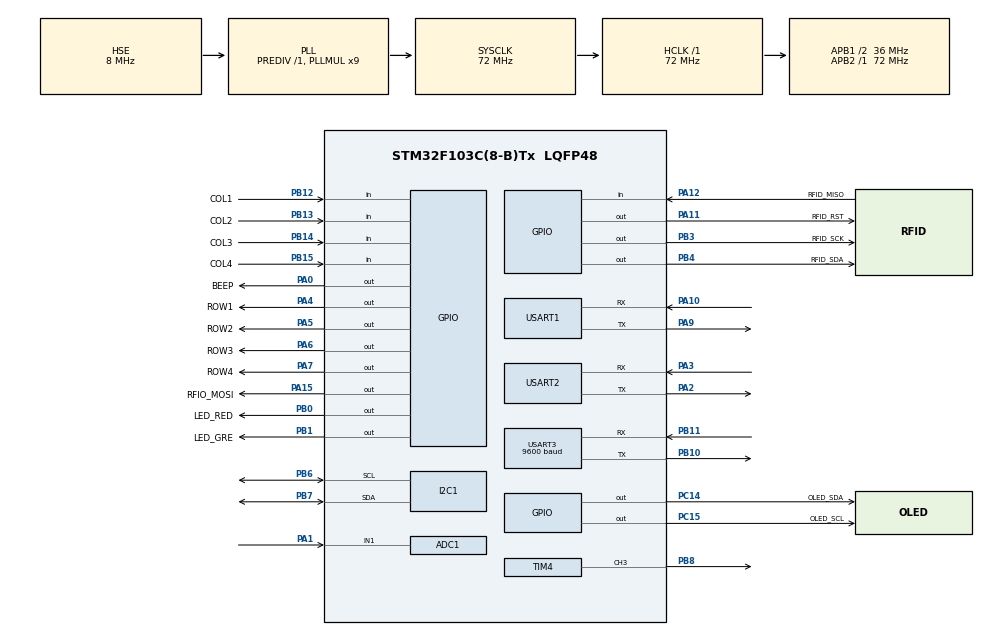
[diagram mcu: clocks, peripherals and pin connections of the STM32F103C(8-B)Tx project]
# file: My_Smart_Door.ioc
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ADC1.Channel-0\#ChannelRegularConversion=ADC_CHANNEL_1
ADC1.NbrOfConversionFlag=1
ADC1.Rank-0\#ChannelRegularConversion=1
ADC1.SamplingTime-0\#ChannelRegularConversion=ADC_SAMPLETIME_1CYCLE_5
ADC1.master=1
Mcu.Family=STM32F1
Mcu.Name=STM32F103C(8-B)Tx
Mcu.Package=LQFP48
NVIC.PriorityGroup=NVIC_PRIORITYGROUP_4
NVIC.USART1_IRQn=true\:5\:0\:true\:false\:true\:true\:true\:true
NVIC.USART2_IRQn=true\:5\:0\:true\:false\:true\:true\:true\:true
NVIC.USART3_IRQn=true\:5\:0\:true\:false\:true\:true\:true\:true
PA0-WKUP.GPIO_Label=BEEP
PA0-WKUP.PinState=GPIO_PIN_SET
PA0-WKUP.Signal=GPIO_Output
PA1.Signal=ADCx_IN1
PA10.Mode=Asynchronous
PA10.Signal=USART1_RX
PA11.GPIO_Label=RFID_RST
PA11.GPIO_Speed=GPIO_SPEED_FREQ_HIGH
PA11.PinState=GPIO_PIN_SET
PA11.Signal=GPIO_Output
PA12.GPIO_Label=RFID_MISO
PA12.GPIO_PuPd=GPIO_PULLUP
PA12.Signal=GPIO_Input
PA13.Mode=Serial_Wire
PA13.Signal=SYS_JTMS-SWDIO
PA14.Mode=Serial_Wire
PA14.Signal=SYS_JTCK-SWCLK
PA15.GPIO_Label=RFIO_MOSI
PA15.GPIO_Speed=GPIO_SPEED_FREQ_HIGH
PA15.PinState=GPIO_PIN_SET
PA15.Signal=GPIO_Output
PA2.Mode=Asynchronous
PA2.Signal=USART2_TX
PA3.Mode=Asynchronous
PA3.Signal=USART2_RX
PA4.GPIO_Label=ROW1
PA4.GPIO_Mode=GPIO_MODE_OUTPUT_OD
PA4.GPIO_PuPd=GPIO_NOPULL
PA4.GPIO_Speed=GPIO_SPEED_FREQ_LOW
PA4.PinState=GPIO_PIN_SET
PA4.Signal=GPIO_Output
PA5.GPIO_Label=ROW2
PA5.GPIO_Mode=GPIO_MODE_OUTPUT_OD
PA5.GPIO_PuPd=GPIO_NOPULL
PA5.GPIO_Speed=GPIO_SPEED_FREQ_LOW
PA5.PinState=GPIO_PIN_SET
PA5.Signal=GPIO_Output
PA6.GPIO_Label=ROW3
PA6.GPIO_Mode=GPIO_MODE_OUTPUT_OD
PA6.GPIO_PuPd=GPIO_NOPULL
PA6.GPIO_Speed=GPIO_SPEED_FREQ_LOW
PA6.PinState=GPIO_PIN_SET
PA6.Signal=GPIO_Output
PA7.GPIO_Label=ROW4
PA7.GPIO_Mode=GPIO_MODE_OUTPUT_OD
PA7.GPIO_PuPd=GPIO_NOPULL
PA7.GPIO_Speed=GPIO_SPEED_FREQ_LOW
PA7.PinState=GPIO_PIN_SET
PA7.Signal=GPIO_Output
PA9.Mode=Asynchronous
PA9.Signal=USART1_TX
PB0.GPIO_Label=LED_RED
PB0.GPIO_Speed=GPIO_SPEED_FREQ_MEDIUM
PB0.PinState=GPIO_PIN_SET
PB0.Signal=GPIO_Output
PB1.GPIO_Label=LED_GRE
PB1.GPIO_Speed=GPIO_SPEED_FREQ_MEDIUM
PB1.PinState=GPIO_PIN_SET
PB1.Signal=GPIO_Output
PB10.Mode=Asynchronous
PB10.Signal=USART3_TX
PB11.Mode=Asynchronous
PB11.Signal=USART3_RX
PB12.GPIO_Label=COL1
PB12.GPIO_PuPd=GPIO_PULLUP
PB12.Signal=GPIO_Input
PB13.GPIO_Label=COL2
PB13.GPIO_PuPd=GPIO_PULLUP
PB13.Signal=GPIO_Input
PB14.GPIO_Label=COL3
PB14.GPIO_PuPd=GPIO_PULLUP
PB14.Signal=GPIO_Input
PB15.GPIO_Label=COL4
PB15.GPIO_PuPd=GPIO_PULLUP
PB15.Signal=GPIO_Input
PB3.GPIO_Label=RFID_SCK
PB3.GPIO_Speed=GPIO_SPEED_FREQ_HIGH
PB3.PinState=GPIO_PIN_SET
PB3.Signal=GPIO_Output
PB4.GPIO_Label=RFID_SDA
PB4.GPIO_Speed=GPIO_SPEED_FREQ_HIGH
PB4.PinState=GPIO_PIN_SET
PB4.Signal=GPIO_Output
PB6.Mode=I2C
PB6.Signal=I2C1_SCL
PB7.Mode=I2C
PB7.Signal=I2C1_SDA
PB8.Signal=S_TIM4_CH3
PC14-OSC32_IN.GPIO_Label=OLED_SDA
PC14-OSC32_IN.GPIO_Mode=GPIO_MODE_OUTPUT_OD
PC14-OSC32_IN.GPIO_PuPd=GPIO_PULLUP
PC14-OSC32_IN.GPIO_Speed=GPIO_SPEED_FREQ_LOW
PC14-OSC32_IN.PinState=GPIO_PIN_SET
PC14-OSC32_IN.Signal=GPIO_Output
PC15-OSC32_OUT.GPIO_Label=OLED_SCL
PC15-OSC32_OUT.GPIO_Mode=GPIO_MODE_OUTPUT_OD
PC15-OSC32_OUT.GPIO_PuPd=GPIO_PULLUP
PC15-OSC32_OUT.GPIO_Speed=GPIO_SPEED_FREQ_LOW
PC15-OSC32_OUT.PinState=GPIO_PIN_SET
PC15-OSC32_OUT.Signal=GPIO_Output
PD0-OSC_IN.Mode=HSE-External-Oscillator
PD0-OSC_IN.Signal=RCC_OSC_IN
PD1-OSC_OUT.Mode=HSE-External-Oscillator
PD1-OSC_OUT.Signal=RCC_OSC_OUT
ProjectManager.HeapSize=0x200
ProjectManager.StackSize=0x400
ProjectManager.TargetToolchain=MDK-ARM V5.32
RCC.ADCPresc=RCC_ADCPCLK2_DIV6
RCC.AHBFreq_Value=72000000
RCC.APB1CLKDivider=RCC_HCLK_DIV2
RCC.APB1Freq_Value=36000000
RCC.APB1TimFreq_Value=72000000
RCC.APB2Freq_Value=72000000
RCC.APB2TimFreq_Value=72000000
RCC.HCLKFreq_Value=72000000
RCC.PLLMUL=RCC_PLL_MUL9
RCC.PLLSourceVirtual=RCC_PLLSOURCE_HSE
RCC.SYSCLKFreq_VALUE=72000000
RCC.SYSCLKSource=RCC_SYSCLKSOURCE_PLLCLK
RCC.USBFreq_Value=72000000
SH.ADCx_IN1.0=ADC1_IN1,IN1
SH.S_TIM4_CH3.0=TIM4_CH3,PWM Generation3 CH3
TIM4.Channel-PWM\ Generation3\ CH3=TIM_CHANNEL_3
TIM4.Period=19999
TIM4.Prescaler=71
TIM4.Pulse-PWM\ Generation3\ CH3=1500
USART1.VirtualMode=VM_ASYNC
USART2.VirtualMode=VM_ASYNC
USART3.BaudRate=9600
USART3.VirtualMode=VM_ASYNC
board=custom

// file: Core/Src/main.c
/* USER CODE BEGIN Header */
/**
  ******************************************************************************
  * @file           : main.c
  * @brief          : Main program body
  ******************************************************************************
  * @attention
  *
  * Copyright (c) 2026 STMicroelectronics.
  * All rights reserved.
  *
  * This software is licensed under terms that can be found in the LICENSE file
  * in the root directory of this software component.
  * If no LICENSE file comes with this software, it is provided AS-IS.
  *
  ******************************************************************************
  */
/* USER CODE END Header */
#include "main.h"
#include "adc.h"
#include "i2c.h"
#include "tim.h"
#include "usart.h"
#include "gpio.h"

/* USER CODE BEGIN Includes */
#include "../../MDK-ARM/BSP/KEY/KEY.h"
#include "../../MDK-ARM/BSP/TEMP/TEMP.h"
#include "../../MDK-ARM/APP/Ui/Ui.h"
#include "../../MDK-ARM/APP/Rfid/Rfid.h"
#include "../../MDK-ARM/APP/CardStore/CardStore.h"
#include "../../MDK-ARM/APP/Door/Door.h"
/* USER CODE END Includes */

/* USER CODE BEGIN PTD */
/* 业务类型（DoorState / RfidView）已迁到 MDK-ARM/APP/AppDef.h */
/* USER CODE END PTD */

void SystemClock_Config(void);

int main(void)
{

  /* MCU Configuration--------------------------------------------------------*/

  /* Reset of all peripherals, Initializes the Flash interface and the Systick. */
  HAL_Init();

  /* Configure the system clock */
  SystemClock_Config();

  /* Initialize all configured peripherals */
  MX_GPIO_Init();
  MX_I2C1_Init();
  MX_TIM4_Init();
  MX_USART1_UART_Init();
  MX_USART2_UART_Init();
  MX_USART3_UART_Init();
  MX_ADC1_Init();
  /* USER CODE BEGIN 2 */
  /* 板级初始化顺序：驱动层 → 业务层，业务层初始化完自己会刷首页 */
  HAL_GPIO_WritePin(LED_RED_GPIO_Port, LED_RED_Pin, GPIO_PIN_SET);
  HAL_GPIO_WritePin(LED_GRE_GPIO_Port, LED_GRE_Pin, GPIO_PIN_SET);
  KEY_Init();
  Ui_Init();
  Rfid_Init();
  Rfid_SetHandler(Door_OnCard);
  CardStore_Init();          /* 探测 AT24C16 / 回落片内 Flash，并读回白名单 */
  Temp_Init();
  Door_Init();               /* 舵机关门 + 显示密码页 */
/* USER CODE END 2 */

  /* Infinite loop */
  while (1)
  {

    /* USER CODE BEGIN 3 */
    Door_Poll();                                    /* 状态机：闪烁、3s 关门、加删卡超时 */
    Door_KeyInput(KEY_Scan());                      /* 键盘：密码 / 加卡 / 删卡 */
    Rfid_Poll(Door_CardsReadable(), Door_OnPasswordPage());  /* 刷卡：白名单判定在 Door 里 */
    if (Temp_Update() != 0U)
    {
      if (Door_OnPasswordPage() != 0U)
      {
        Ui_ShowTemp();                              /* 只重画第一行，不清屏，不会闪 */
      }
    }
    HAL_Delay(2U);
  }
  /* USER CODE END 3 */
}

void SystemClock_Config(void)
{
  RCC_OscInitTypeDef RCC_OscInitStruct = {0};
  RCC_ClkInitTypeDef RCC_ClkInitStruct = {0};
  RCC_PeriphCLKInitTypeDef PeriphClkInit = {0};

  /** Initializes the RCC Oscillators according to the specified parameters
  * in the RCC_OscInitTypeDef structure.
  */
  RCC_OscInitStruct.OscillatorType = RCC_OSCILLATORTYPE_HSE;
  RCC_OscInitStruct.HSEState = RCC_HSE_ON;
  RCC_OscInitStruct.HSEPredivValue = RCC_HSE_PREDIV_DIV1;
  RCC_OscInitStruct.HSIState = RCC_HSI_ON;
  RCC_OscInitStruct.PLL.PLLState = RCC_PLL_ON;
  RCC_OscInitStruct.PLL.PLLSource = RCC_PLLSOURCE_HSE;
  RCC_OscInitStruct.PLL.PLLMUL = RCC_PLL_MUL9;
  if (HAL_RCC_OscConfig(&RCC_OscInitStruct) != HAL_OK)
  {
    Error_Handler();
  }

  /** Initializes the CPU, AHB and APB buses clocks
  */
  RCC_ClkInitStruct.ClockType = RCC_CLOCKTYPE_HCLK|RCC_CLOCKTYPE_SYSCLK
                              |RCC_CLOCKTYPE_PCLK1|RCC_CLOCKTYPE_PCLK2;
  RCC_ClkInitStruct.SYSCLKSource = RCC_SYSCLKSOURCE_PLLCLK;
  RCC_ClkInitStruct.AHBCLKDivider = RCC_SYSCLK_DIV1;
  RCC_ClkInitStruct.APB1CLKDivider = RCC_HCLK_DIV2;
  RCC_ClkInitStruct.APB2CLKDivider = RCC_HCLK_DIV1;

  if (HAL_RCC_ClockConfig(&RCC_ClkInitStruct, FLASH_LATENCY_2) != HAL_OK)
  {
    Error_Handler();
  }
  PeriphClkInit.PeriphClockSelection = RCC_PERIPHCLK_ADC;
  PeriphClkInit.AdcClockSelection = RCC_ADCPCLK2_DIV6;
  if (HAL_RCCEx_PeriphCLKConfig(&PeriphClkInit) != HAL_OK)
  {
    Error_Handler();
  }
}

void Error_Handler(void)
{
  __disable_irq();
  while (1)
  {
  }
}
